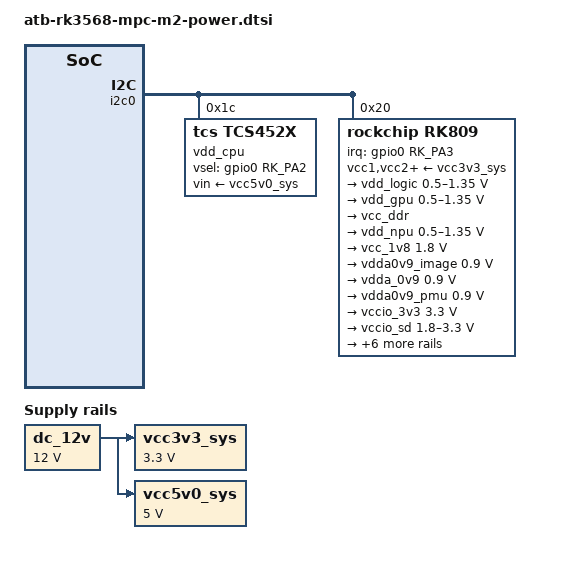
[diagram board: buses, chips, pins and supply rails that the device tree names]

/ {
	dc_12v: dc-12v {
		compatible = "regulator-fixed";
		regulator-name = "dc_12v";
		regulator-always-on;
		regulator-boot-on;
		regulator-min-microvolt = <12000000>;
		regulator-max-microvolt = <12000000>;
	};

	vcc3v3_sys: vcc3v3-sys {
		compatible = "regulator-fixed";
		regulator-name = "vcc3v3_sys";
		regulator-always-on;
		regulator-boot-on;
		regulator-min-microvolt = <3300000>;
		regulator-max-microvolt = <3300000>;
		vin-supply = <&dc_12v>;
	};

	vcc5v0_sys: vcc5v0-sys {
		compatible = "regulator-fixed";
		regulator-name = "vcc5v0_sys";
		regulator-always-on;
		regulator-boot-on;
		regulator-min-microvolt = <5000000>;
		regulator-max-microvolt = <5000000>;
		vin-supply = <&dc_12v>;
	};
};

&pinctrl {
	pmic {
		pmic_int_pin: pmic-int-pin {
			// PMIC_INT_L
			rockchip,pins = <0 RK_PA3 RK_FUNC_GPIO &pcfg_pull_up>;
		};
	};
};

&pmu_io_domains {
	pmuio1-supply = <&vcc3v3_pmu>;	// 3.3V_VCC_PMU
	pmuio2-supply = <&vcc3v3_pmu>;	// 3.3V_VCC_PMU
	vccio1-supply = <&vccio_3v3>;	// 3.3V_VCCIO
	vccio2-supply = <&vcc_1v8>;		// 1.8V_VCC
	vccio3-supply = <&vccio_sd>;	// 3.3V_VCCIO_SD
	vccio4-supply = <&vcc_1v8>;		// 1.8V_VCC
	vccio5-supply = <&vcc_3v3>;		// 3.3V_VCC
	vccio6-supply = <&vcc_1v8>;		// 1.8V_VCC
	vccio7-supply = <&vcc_3v3>;		// 3.3V_VCC
	status = "okay";
};

&i2c0 {
	pinctrl-0 = <&i2c0_xfer>;
	pinctrl-names = "default";

	status = "okay";

	// D6
	vdd_cpu: regulator@1c {
		compatible = "tcs,tcs452x";
		reg = <0x1c>;
		// PMIC_SLEEP_H
		vsel-gpios = <&gpio0 RK_PA2 GPIO_ACTIVE_HIGH>;
		fcs,suspend-voltage-selector = <1>;
		regulator-name = "vdd_cpu";
		regulator-always-on;
		regulator-boot-on;
		regulator-min-microvolt = <800000>;
		regulator-max-microvolt = <1150000>;
		regulator-ramp-delay = <2300>;
		vin-supply = <&vcc5v0_sys>;

		regulator-state-mem {
			regulator-off-in-suspend;
		};
	};

	// D4
	rk809: pmic@20 {
		compatible = "rockchip,rk809";
		reg = <0x20>;
		pinctrl-names = "default";
		pinctrl-0 = <&pmic_int_pin>;
		// PMIC_INT_L
		interrupt-parent = <&gpio0>;
		interrupts = <RK_PA3 IRQ_TYPE_LEVEL_LOW>;
		rockchip,system-power-controller;
		
		vcc1-supply = <&vcc3v3_sys>;
		vcc2-supply = <&vcc3v3_sys>;
		vcc3-supply = <&vcc3v3_sys>;
		vcc4-supply = <&vcc3v3_sys>;
		vcc5-supply = <&vcc3v3_sys>;
		vcc6-supply = <&vcc3v3_sys>;
		vcc7-supply = <&vcc3v3_sys>;
		vcc8-supply = <&vcc3v3_sys>;
		vcc9-supply = <&vcc3v3_sys>;
		wakeup-source;

		regulators {
			vdd_logic: DCDC_REG1 {
				regulator-name = "vdd_logic";
				regulator-always-on;
				regulator-boot-on;
				regulator-init-microvolt = <900000>;
				regulator-initial-mode = <0x2>;
				regulator-min-microvolt = <500000>;
				regulator-max-microvolt = <1350000>;
				regulator-ramp-delay = <6001>;

				regulator-state-mem {
					regulator-off-in-suspend;
				};
			};

			vdd_gpu: DCDC_REG2 {
				regulator-name = "vdd_gpu";
				regulator-always-on;
				regulator-init-microvolt = <900000>;
				regulator-initial-mode = <0x2>;
				regulator-min-microvolt = <500000>;
				regulator-max-microvolt = <1350000>;
				regulator-ramp-delay = <6001>;

				regulator-state-mem {
					regulator-off-in-suspend;
				};
			};

			vcc_ddr: DCDC_REG3 {
				regulator-name = "vcc_ddr";
				regulator-always-on;
				regulator-boot-on;
				regulator-initial-mode = <0x2>;

				regulator-state-mem {
					regulator-on-in-suspend;
				};
			};

			vdd_npu: DCDC_REG4 {
				regulator-name = "vdd_npu";
				regulator-init-microvolt = <900000>;
				regulator-initial-mode = <0x2>;
				regulator-min-microvolt = <500000>;
				regulator-max-microvolt = <1350000>;
				regulator-ramp-delay = <6001>;

				regulator-state-mem {
					regulator-off-in-suspend;
				};
			};

			vcc_1v8: DCDC_REG5 {
				regulator-name = "vcc_1v8";
				regulator-always-on;
				regulator-boot-on;
				regulator-min-microvolt = <1800000>;
				regulator-max-microvolt = <1800000>;

				regulator-state-mem {
					regulator-off-in-suspend;
				};
			};

			vdda0v9_image: LDO_REG1 {
				regulator-boot-on;
				regulator-always-on;
				regulator-min-microvolt = <900000>;
				regulator-max-microvolt = <900000>;
				regulator-name = "vdda0v9_image";
				regulator-state-mem {
					regulator-off-in-suspend;
				};
			};
			
			vdda_0v9: LDO_REG2 {
				regulator-name = "vdda_0v9";
				regulator-always-on;
				regulator-boot-on;
				regulator-min-microvolt = <900000>;
				regulator-max-microvolt = <900000>;

				regulator-state-mem {
					regulator-off-in-suspend;
				};
			};

			vdda0v9_pmu: LDO_REG3 {
				regulator-name = "vdda0v9_pmu";
				regulator-always-on;
				regulator-boot-on;
				regulator-min-microvolt = <900000>;
				regulator-max-microvolt = <900000>;

				regulator-state-mem {
					regulator-on-in-suspend;
					regulator-suspend-microvolt = <900000>;
				};
			};

			vccio_3v3: LDO_REG4 {
				regulator-name = "vccio_3v3";
				regulator-always-on;
				regulator-min-microvolt = <3300000>;
				regulator-max-microvolt = <3300000>;

				regulator-state-mem {
					regulator-off-in-suspend;
				};
			};

			vccio_sd: LDO_REG5 {
				regulator-name = "vccio_sd";
				regulator-always-on;
				regulator-boot-on;
				regulator-min-microvolt = <1800000>;
				regulator-max-microvolt = <3300000>;

				regulator-state-mem {
					regulator-off-in-suspend;
				};
			};

			vcc3v3_pmu: LDO_REG6 {
				regulator-name = "vcc3v3_pmu";
				regulator-always-on;
				regulator-boot-on;
				regulator-min-microvolt = <3300000>;
				regulator-max-microvolt = <3300000>;

				regulator-state-mem {
					regulator-on-in-suspend;
					regulator-suspend-microvolt = <3300000>;
				};
			};

			vcca_1v8: LDO_REG7 {
				regulator-name = "vcca_1v8";
				regulator-always-on;
				regulator-boot-on;
				regulator-min-microvolt = <1800000>;
				regulator-max-microvolt = <1800000>;

				regulator-state-mem {
					regulator-off-in-suspend;
				};
			};

			vcca1v8_pmu: LDO_REG8 {
				regulator-name = "vcca1v8_pmu";
				regulator-always-on;
				regulator-boot-on;
				regulator-min-microvolt = <1800000>;
				regulator-max-microvolt = <1800000>;

				regulator-state-mem {
					regulator-on-in-suspend;
					regulator-suspend-microvolt = <1800000>;
				};
			};

			vcca1v8_image: LDO_REG9 {
				regulator-always-on;
				regulator-boot-on;
				regulator-min-microvolt = <1800000>;
				regulator-max-microvolt = <1800000>;
				regulator-name = "vcca1v8_image";
				regulator-state-mem {
					regulator-off-in-suspend;
				};
			};

			vcc_3v3: SWITCH_REG1 {
				regulator-name = "vcc_3v3";
				regulator-always-on;
				regulator-boot-on;

				regulator-state-mem {
					regulator-off-in-suspend;
				};
			};

			vcc3v3_sd: SWITCH_REG2 {
				regulator-name = "vcc3v3_sd";
				regulator-always-on;
				regulator-boot-on;
				regulator-state-mem {
					regulator-off-in-suspend;
				};
			};
		};
	};
};
